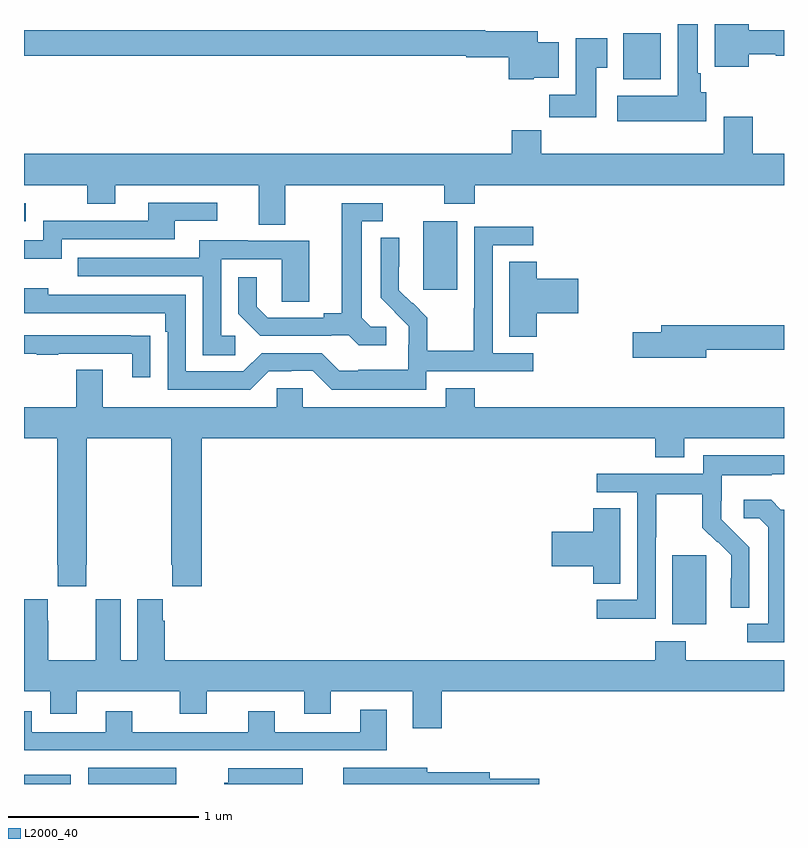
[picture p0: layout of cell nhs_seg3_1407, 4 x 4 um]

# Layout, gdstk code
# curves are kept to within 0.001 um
import gdstk
lib = gdstk.Library(unit=1e-6, precision=1e-09)
def R(c, l, rs):  # rectangles x0, y0, x1, y1
    for r in rs: c.add(gdstk.rectangle(r[:2], r[2:], *l))
def P(c, l, *ps):  # polygons
    for p in ps: c.add(gdstk.Polygon(p, *l))
L2000_40 = (2000, 40)

nhs_seg3_1407 = lib.new_cell('nhs_seg3_1407')
R(nhs_seg3_1407, L2000_40, [(183,728.4,183.247,728.448), (183.338,728.4,183.802,728.485), (186.413,729.242,186.592,729.603), (185.102,731.001,185.281,731.362), (183,731.361,183.01,731.457), (186.155,732.11,186.352,732.352)])
P(nhs_seg3_1407, L2000_40, [(186.592,732.042),(186.562,732.042),(186.562,732.142),(186.547,732.142),(186.547,732.4),(186.44,732.4),(186.44,732.022),(186.123,732.022),(186.123,731.888),(186.592,731.888)],
  [(186.814,732.24),(186.957,732.24),(186.957,732.232),(187,732.232),(187,732.368),(186.814,732.368),(186.814,732.4),(186.635,732.4),(186.635,732.176),(186.814,732.176)],
  [(185.682,732.116),(185.815,732.116),(185.815,732.304),(185.704,732.304),(185.704,732.361),(185.428,732.361),(185.428,732.368),(183,732.368),(183,732.232),(185.328,732.232),(185.328,732.224),(185.552,732.224),(185.552,732.11),(185.682,732.11)],
  [(186.013,732.169),(186.07,732.169),(186.07,732.325),(185.903,732.325),(185.903,732.028),(185.764,732.028),(185.764,731.91),(186.013,731.91)],
  [(184.375,731.552),(185.212,731.552),(185.212,731.453),(185.372,731.453),(185.372,731.552),(187,731.552),(187,731.716),(186.836,731.716),(186.836,731.911),(186.683,731.911),(186.683,731.716),(185.723,731.716),(185.723,731.84),(185.567,731.84),(185.567,731.716),(183,731.716),(183,731.552),(183.334,731.552),(183.334,731.453),(183.481,731.453),(183.481,731.552),(184.235,731.552),(184.235,731.344),(184.375,731.344)],
  [(183.198,731.268),(183.793,731.268),(183.793,731.364),(184.018,731.364),(184.018,731.46),(183.653,731.46),(183.653,731.364),(183.102,731.364),(183.102,731.262),(183,731.262),(183,731.165),(183.198,731.165)],
  [(184.906,730.806),(184.824,730.806),(184.777,730.853),(184.777,731.361),(184.888,731.361),(184.888,731.457),(184.673,731.457),(184.673,730.877),(184.577,730.877),(184.577,730.854),(184.282,730.854),(184.225,730.911),(184.225,731.068),(184.128,731.068),(184.128,730.874),(184.244,730.758),(184.616,730.758),(184.616,730.761),(184.71,730.761),(184.762,730.709),(184.906,730.709)],
  [(185.118,730.572),(185.68,730.572),(185.68,730.668),(185.466,730.668),(185.466,731.235),(185.68,731.235),(185.68,731.334),(185.37,731.334),(185.37,730.904),(185.368,730.904),(185.368,730.681),(185.123,730.681),(185.123,730.855),(185.046,730.932),(185.043,730.929),(184.973,731),(184.974,731.276),(184.878,731.276),(184.878,730.958),(185.024,730.81),(185.024,730.713),(185.022,730.713),(185.022,730.579),(184.759,730.579),(184.759,730.575),(184.659,730.575),(184.566,730.668),(184.251,730.668),(184.155,730.572),(183.852,730.572),(183.852,730.974),(183.128,730.974),(183.128,731.008),(183,731.008),(183,730.878),(183.743,730.878),(183.743,730.781),(183.756,730.781),(183.756,730.476),(184.191,730.476),(184.287,730.572),(184.406,730.572),(184.406,730.575),(184.521,730.575),(184.621,730.475),(185.118,730.475)],
  [(184.111,730.758),(184.038,730.758),(184.038,731.163),(184.356,731.163),(184.356,730.939),(184.501,730.939),(184.501,731.259),(184.177,731.259),(184.177,731.263),(183.923,731.263),(183.923,731.169),(183.283,731.169),(183.283,731.073),(183.942,731.073),(183.942,730.657),(184.111,730.657)],
  [(185.699,730.877),(185.917,730.877),(185.917,731.06),(185.699,731.06),(185.699,731.15),(185.555,731.15),(185.555,730.753),(185.699,730.753)],
  [(186.592,730.686),(187,730.686),(187,730.814),(186.353,730.814),(186.353,730.778),(186.204,730.778),(186.204,730.643),(186.592,730.643)],
  [(183.665,730.76),(183.563,730.76),(183.563,730.761),(183,730.761),(183,730.665),(183.067,730.665),(183.067,730.66),(183.179,730.66),(183.179,730.665),(183.569,730.665),(183.569,730.542),(183.665,730.542)],
  [(183.327,729.553),(183.33,729.553),(183.33,730.22),(183.775,730.22),(183.775,729.553),(183.781,729.553),(183.781,729.441),(183.935,729.441),(183.935,730.22),(186.323,730.22),(186.323,730.121),(186.475,730.121),(186.475,730.22),(187,730.22),(187,730.384),(185.372,730.384),(185.372,730.483),(185.219,730.483),(185.219,730.384),(184.467,730.384),(184.467,730.482),(184.329,730.482),(184.329,730.384),(183.415,730.384),(183.415,730.579),(183.275,730.579),(183.275,730.384),(183,730.384),(183,730.22),(183.175,730.22),(183.175,729.553),(183.177,729.553),(183.177,729.441),(183.327,729.441)],
  [(186.324,729.7),(186.327,729.7),(186.327,729.924),(186.571,729.924),(186.571,729.749),(186.648,729.672),(186.651,729.675),(186.722,729.605),(186.722,729.482),(186.72,729.482),(186.72,729.328),(186.816,729.328),(186.816,729.646),(186.67,729.794),(186.67,729.891),(186.672,729.891),(186.672,730.025),(186.935,730.025),(186.935,730.029),(187,730.029),(187,730.129),(186.576,730.129),(186.576,730.032),(186.015,730.032),(186.015,729.936),(186.228,729.936),(186.228,729.369),(186.015,729.369),(186.015,729.271),(186.324,729.271)],
  [(187,729.843),(186.984,729.843),(186.932,729.895),(186.789,729.895),(186.789,729.798),(186.87,729.798),(186.917,729.751),(186.917,729.243),(186.807,729.243),(186.807,729.147),(187,729.147)],
  [(186.139,729.851),(185.996,729.851),(185.996,729.728),(185.778,729.728),(185.778,729.545),(185.996,729.545),(185.996,729.454),(186.139,729.454)],
  [(185.198,728.888),(187,728.888),(187,729.052),(186.483,729.052),(186.483,729.151),(186.323,729.151),(186.323,729.052),(183.74,729.052),(183.74,729.26),(183.73,729.26),(183.73,729.373),(183.596,729.373),(183.596,729.052),(183.508,729.052),(183.508,729.373),(183.378,729.373),(183.378,729.26),(183.377,729.26),(183.377,729.052),(183.127,729.052),(183.127,729.26),(183.126,729.26),(183.126,729.373),(183,729.373),(183,728.888),(183.137,728.888),(183.137,728.771),(183.277,728.771),(183.277,728.888),(183.821,728.888),(183.821,728.771),(183.961,728.771),(183.961,728.888),(184.475,728.888),(184.475,728.771),(184.615,728.771),(184.615,728.888),(185.045,728.888),(185.045,728.694),(185.198,728.694)],
  [(184.909,728.791),(184.769,728.791),(184.769,728.673),(184.321,728.673),(184.321,728.782),(184.181,728.782),(184.181,728.673),(183.571,728.673),(183.571,728.782),(183.431,728.782),(183.431,728.673),(183.04,728.673),(183.04,728.782),(183,728.782),(183,728.577),(184.909,728.577)],
  [(185.713,728.427),(185.452,728.427),(185.452,728.461),(185.122,728.461),(185.122,728.485),(184.679,728.485),(184.679,728.4),(185.713,728.4)],
  [(184.468,728.482),(184.076,728.482),(184.076,728.406),(184.053,728.406),(184.053,728.4),(184.468,728.4)])

lib.write_gds('nhs_seg3_1407.gds')
